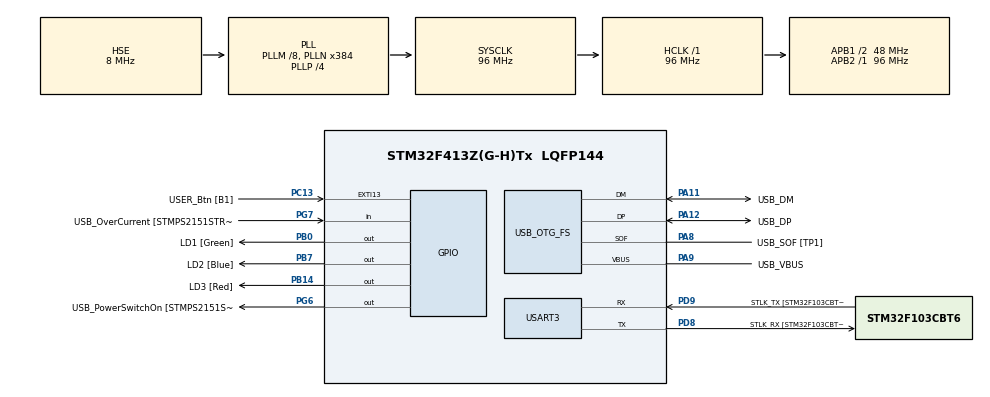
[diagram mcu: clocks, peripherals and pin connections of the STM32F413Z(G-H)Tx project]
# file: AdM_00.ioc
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Mcu.Family=STM32F4
Mcu.Name=STM32F413Z(G-H)Tx
Mcu.Package=LQFP144
NVIC.PriorityGroup=NVIC_PRIORITYGROUP_4
PA10.GPIO_Label=USB_ID
PA10.Signal=USB_OTG_FS_ID
PA11.GPIO_Label=USB_DM
PA11.Mode=Device_Only
PA11.Signal=USB_OTG_FS_DM
PA12.GPIO_Label=USB_DP
PA12.Mode=Device_Only
PA12.Signal=USB_OTG_FS_DP
PA13.GPIO_Label=TMS
PA13.Mode=Serial_Wire
PA13.Signal=SYS_JTMS-SWDIO
PA14.GPIO_Label=TCK
PA14.Mode=Serial_Wire
PA14.Signal=SYS_JTCK-SWCLK
PA8.GPIO_Label=USB_SOF [TP1]
PA8.Mode=Activate_SOF_FS
PA8.Signal=USB_OTG_FS_SOF
PA9.GPIO_Label=USB_VBUS
PA9.Mode=Activate_VBUS
PA9.Signal=USB_OTG_FS_VBUS
PB0.GPIO_Label=LD1 [Green]
PB0.Signal=GPIO_Output
PB14.GPIO_Label=LD3 [Red]
PB14.Signal=GPIO_Output
PB3.GPIO_Label=SWO
PB3.Signal=SYS_JTDO-SWO
PB7.GPIO_Label=LD2 [Blue]
PB7.Signal=GPIO_Output
PC13.GPIO_Label=USER_Btn [B1]
PC13.Signal=GPXTI13
PC14-OSC32_IN.Mode=LSE-External-Oscillator
PC14-OSC32_IN.Signal=RCC_OSC32_IN
PC15-OSC32_OUT.Mode=LSE-External-Oscillator
PC15-OSC32_OUT.Signal=RCC_OSC32_OUT
PD8.GPIO_Label=STLK_RX [STM32F103CBT6_PA3]
PD8.Mode=Asynchronous
PD8.Signal=USART3_TX
PD9.GPIO_Label=STLK_TX [STM32F103CBT6_PA2]
PD9.Mode=Asynchronous
PD9.Signal=USART3_RX
PG6.GPIO_Label=USB_PowerSwitchOn [STMPS2151STR_EN]
PG6.Signal=GPIO_Output
PG7.GPIO_Label=USB_OverCurrent [STMPS2151STR_FAULT]
PG7.Signal=GPIO_Input
PH0\ -\ OSC_IN.GPIO_Label=MCO
PH0\ -\ OSC_IN.Mode=HSE-External-Clock-Source
PH0\ -\ OSC_IN.Signal=RCC_OSC_IN
PH1\ -\ OSC_OUT.Mode=HSE-External-Clock-Source
PH1\ -\ OSC_OUT.Signal=RCC_OSC_OUT
ProjectManager.HeapSize=0x200
ProjectManager.StackSize=0x400
ProjectManager.TargetToolchain=STM32CubeIDE
RCC.48MHZClocksFreq_Value=24000000
RCC.AHBFreq_Value=96000000
RCC.APB1CLKDivider=RCC_HCLK_DIV2
RCC.APB1Freq_Value=48000000
RCC.APB1TimFreq_Value=96000000
RCC.APB2Freq_Value=96000000
RCC.APB2TimFreq_Value=96000000
RCC.CortexFreq_Value=96000000
RCC.HCLKFreq_Value=96000000
RCC.HSE_VALUE=8000000
RCC.HSI_VALUE=16000000
RCC.PLLM=8
RCC.PLLMUL=RCC_PLL_MUL9
RCC.PLLN=384
RCC.PLLP=RCC_PLLP_DIV4
RCC.PLLQ=8
RCC.PRESCALERUSB=RCC_USBCLKSOURCE_PLL_DIV1_5
RCC.SYSCLKFreq_VALUE=96000000
RCC.SYSCLKSource=RCC_SYSCLKSOURCE_PLLCLK
RCC.SYSCLKSourceVirtual=RCC_SYSCLKSOURCE_PLLCLK
RCC.USBFreq_Value=48000000
RCC.VCOOutputFreq_Value=384000000
USART3.VirtualMode=VM_ASYNC
USB_OTG_FS.VirtualMode=Device_Only
board=NUCLEO-F413ZH

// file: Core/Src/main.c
/* USER CODE BEGIN Header */
/**
  ******************************************************************************
  * @file           : main.c
  * @brief          : Main program body
  ******************************************************************************
  * @attention
  *
  * Copyright (c) 2023 STMicroelectronics.
  * All rights reserved.
  *
  * This software is licensed under terms that can be found in the LICENSE file
  * in the root directory of this software component.
  * If no LICENSE file comes with this software, it is provided AS-IS.
  *
  ******************************************************************************
  */
/* USER CODE END Header */
#include "main.h"

/* USER CODE BEGIN Includes */
//###############################################################################
#include "asm_func.h"
//#include "App.h"

//###############################################################################

/* USER CODE END Includes */

UART_HandleTypeDef huart3;

PCD_HandleTypeDef hpcd_USB_OTG_FS;

/* USER CODE BEGIN PV */
//###############################################################################

//uint32_t var;

//###############################################################################

/* USER CODE END PV */

void SystemClock_Config(void);
static void MX_GPIO_Init(void);
static void MX_USART3_UART_Init(void);
static void MX_USB_OTG_FS_PCD_Init(void);

/* USER CODE BEGIN PFP */
//###############################################################################

static void PrivilegiosSVC(void);

// (1) función que inicializa un vector con ceros
void zeros (uint32_t * vector, uint32_t longitud);

// (2) función que realiza el producto de un vector y un escalar (cambiar el nivel de amplitud de una señal)
void productoEscalar32 (uint32_t * vectorIn, uint32_t * vectorOut, uint32_t longitud, uint32_t escalar);

// (3) Adapte la función del ejercicio 2 para realizar operaciones sobre vectores de 16 bits
void productoEscalar16 (uint16_t * vectorIn, uint16_t * vectorOut, uint32_t longitud, uint16_t escalar);

// (4) Adapte la función del ejercicio 3 para saturar el resultado del producto a 12 bits
void productoEscalar12 (uint16_t * vectorIn, uint16_t * vectorOut, uint32_t longitud, uint16_t escalar);

// (5) función que implemente un filtro de ventana móvil de 10 valores sobre un vector de muestras.
void filtroVentana10(uint16_t * vectorIn, uint16_t * vectorOut, uint32_t longitudVectorIn);

// (6) función que reciba un vector de números signados de 32 bits y los “empaquete” en
//     otro vector de 16 bits. La función deberá adecuar los valores de entrada a la nueva precisión.
void pack32to16 (int32_t * vectorIn, int16_t *vectorOut, uint32_t longitud);

// (7) función que reciba un vector de números signados de 32 bits y devuelva la posición del máximo del vector.
int32_t max (int32_t * vectorIn, uint32_t longitud);

// (8) función que reciba un vector de muestras signadas de 32 bits y lo decime descartando una cada N muestras.
void downsampleM (int32_t * vectorIn, int32_t * vectorOut, uint32_t longitud, uint32_t N);

// (9) función que reciba un vector de muestras no signadas de 16 bits e invierta su orden.
void invertir (uint16_t * vector, uint32_t longitud);

/* (10) función que recibe un vector de 4096 valores de 16 bits (signados), que corresponden a muestras
		de audio tomadas a una tasa de muestreo de 44.100 muestras/s. La función
		debe introducir un “eco” de la mitad de la amplitud de la muestra original
		a los 20ms de comenzada la grabación.
		Nota: El eco consiste en adicionar a la señal original, la propia señal original dividida por dos y
		atrasada en 20ms, como muestra la ilustración debajo.
		Por qué la cantidad de muestras copiadas iguales es de 882?
		Variante: Una vez implementada la función, programar una nueva versión que utilice las
		instrucciones SIMD para optimizar la ejecución del algoritmo.
*/
void eco (int16_t * vectorIn);

// (11) función que calcule la correlación entre dos vectores. Luego optimice utilizando instrucciones SIMD.
void corr (int16_t * vectorX, int16_t * vectorY, int16_t * vectorCorr, uint32_t longitud);

//###############################################################################

/* USER CODE END PFP */

int main(void)
{

  /* MCU Configuration--------------------------------------------------------*/

  /* Reset of all peripherals, Initializes the Flash interface and the Systick. */
  HAL_Init();

  /* Configure the system clock */
  SystemClock_Config();

  /* Initialize all configured peripherals */
  MX_GPIO_Init();
  MX_USART3_UART_Init();
  MX_USB_OTG_FS_PCD_Init();

  /* USER CODE BEGIN 2 */
  //###############################################################################

  PrivilegiosSVC();

  uint16_t vIn[5]={30000,30,1,44000,2};
  uint16_t vOut[5]={};
  uint16_t escalar=2;
  //uint32_t B=8;

  //asm_producto_escalar16 (vIn, vOut, 5, escalar);

  //******************************************************************************
  //	ECO ejercicio 10
  //******************************************************************************
  int16_t vectorIn[] = {1,4,3,8,15,-4};
  int16_t vectorEco[] = {0,0,0,0,0,0};
  uint32_t longitud = 6;
  uint32_t eco = 3;

  asm_eco(vectorIn, vectorEco, longitud, eco);

  //###############################################################################

  /* USER CODE END 2 */

  /* Infinite loop */
  while (1)
  {

  }
}

void SystemClock_Config(void)
{
  RCC_OscInitTypeDef RCC_OscInitStruct = {0};
  RCC_ClkInitTypeDef RCC_ClkInitStruct = {0};

  /** Configure the main internal regulator output voltage
  */
  __HAL_RCC_PWR_CLK_ENABLE();
  __HAL_PWR_VOLTAGESCALING_CONFIG(PWR_REGULATOR_VOLTAGE_SCALE1);

  /** Initializes the RCC Oscillators according to the specified parameters
  * in the RCC_OscInitTypeDef structure.
  */
  RCC_OscInitStruct.OscillatorType = RCC_OSCILLATORTYPE_HSE;
  RCC_OscInitStruct.HSEState = RCC_HSE_BYPASS;
  RCC_OscInitStruct.PLL.PLLState = RCC_PLL_ON;
  RCC_OscInitStruct.PLL.PLLSource = RCC_PLLSOURCE_HSE;
  RCC_OscInitStruct.PLL.PLLM = 8;
  RCC_OscInitStruct.PLL.PLLN = 384;
  RCC_OscInitStruct.PLL.PLLP = RCC_PLLP_DIV4;
  RCC_OscInitStruct.PLL.PLLQ = 8;
  RCC_OscInitStruct.PLL.PLLR = 2;
  if (HAL_RCC_OscConfig(&RCC_OscInitStruct) != HAL_OK)
  {
    Error_Handler();
  }

  /** Initializes the CPU, AHB and APB buses clocks
  */
  RCC_ClkInitStruct.ClockType = RCC_CLOCKTYPE_HCLK|RCC_CLOCKTYPE_SYSCLK
                              |RCC_CLOCKTYPE_PCLK1|RCC_CLOCKTYPE_PCLK2;
  RCC_ClkInitStruct.SYSCLKSource = RCC_SYSCLKSOURCE_PLLCLK;
  RCC_ClkInitStruct.AHBCLKDivider = RCC_SYSCLK_DIV1;
  RCC_ClkInitStruct.APB1CLKDivider = RCC_HCLK_DIV2;
  RCC_ClkInitStruct.APB2CLKDivider = RCC_HCLK_DIV1;

  if (HAL_RCC_ClockConfig(&RCC_ClkInitStruct, FLASH_LATENCY_3) != HAL_OK)
  {
    Error_Handler();
  }
}

static void MX_USART3_UART_Init(void)
{

  huart3.Instance = USART3;
  huart3.Init.BaudRate = 115200;
  huart3.Init.WordLength = UART_WORDLENGTH_8B;
  huart3.Init.StopBits = UART_STOPBITS_1;
  huart3.Init.Parity = UART_PARITY_NONE;
  huart3.Init.Mode = UART_MODE_TX_RX;
  huart3.Init.HwFlowCtl = UART_HWCONTROL_NONE;
  huart3.Init.OverSampling = UART_OVERSAMPLING_16;
  if (HAL_UART_Init(&huart3) != HAL_OK)
  {
    Error_Handler();
  }

}

static void MX_USB_OTG_FS_PCD_Init(void)
{

  hpcd_USB_OTG_FS.Instance = USB_OTG_FS;
  hpcd_USB_OTG_FS.Init.dev_endpoints = 6;
  hpcd_USB_OTG_FS.Init.speed = PCD_SPEED_FULL;
  hpcd_USB_OTG_FS.Init.dma_enable = DISABLE;
  hpcd_USB_OTG_FS.Init.phy_itface = PCD_PHY_EMBEDDED;
  hpcd_USB_OTG_FS.Init.Sof_enable = ENABLE;
  hpcd_USB_OTG_FS.Init.low_power_enable = DISABLE;
  hpcd_USB_OTG_FS.Init.lpm_enable = DISABLE;
  hpcd_USB_OTG_FS.Init.battery_charging_enable = ENABLE;
  hpcd_USB_OTG_FS.Init.vbus_sensing_enable = ENABLE;
  hpcd_USB_OTG_FS.Init.use_dedicated_ep1 = DISABLE;
  if (HAL_PCD_Init(&hpcd_USB_OTG_FS) != HAL_OK)
  {
    Error_Handler();
  }

}

static void MX_GPIO_Init(void)
{
  GPIO_InitTypeDef GPIO_InitStruct = {0};

  /* GPIO Ports Clock Enable */
  __HAL_RCC_GPIOC_CLK_ENABLE();
  __HAL_RCC_GPIOH_CLK_ENABLE();
  __HAL_RCC_GPIOB_CLK_ENABLE();
  __HAL_RCC_GPIOD_CLK_ENABLE();
  __HAL_RCC_GPIOG_CLK_ENABLE();
  __HAL_RCC_GPIOA_CLK_ENABLE();

  /*Configure GPIO pin Output Level */
  HAL_GPIO_WritePin(GPIOB, LD1_Pin|LD3_Pin|LD2_Pin, GPIO_PIN_RESET);

  /*Configure GPIO pin Output Level */
  HAL_GPIO_WritePin(USB_PowerSwitchOn_GPIO_Port, USB_PowerSwitchOn_Pin, GPIO_PIN_RESET);

  /*Configure GPIO pin : USER_Btn_Pin */
  GPIO_InitStruct.Pin = USER_Btn_Pin;
  GPIO_InitStruct.Mode = GPIO_MODE_IT_RISING;
  GPIO_InitStruct.Pull = GPIO_NOPULL;
  HAL_GPIO_Init(USER_Btn_GPIO_Port, &GPIO_InitStruct);

  /*Configure GPIO pins : LD1_Pin LD3_Pin LD2_Pin */
  GPIO_InitStruct.Pin = LD1_Pin|LD3_Pin|LD2_Pin;
  GPIO_InitStruct.Mode = GPIO_MODE_OUTPUT_PP;
  GPIO_InitStruct.Pull = GPIO_NOPULL;
  GPIO_InitStruct.Speed = GPIO_SPEED_FREQ_LOW;
  HAL_GPIO_Init(GPIOB, &GPIO_InitStruct);

  /*Configure GPIO pin : USB_PowerSwitchOn_Pin */
  GPIO_InitStruct.Pin = USB_PowerSwitchOn_Pin;
  GPIO_InitStruct.Mode = GPIO_MODE_OUTPUT_PP;
  GPIO_InitStruct.Pull = GPIO_NOPULL;
  GPIO_InitStruct.Speed = GPIO_SPEED_FREQ_LOW;
  HAL_GPIO_Init(USB_PowerSwitchOn_GPIO_Port, &GPIO_InitStruct);

  /*Configure GPIO pin : USB_OverCurrent_Pin */
  GPIO_InitStruct.Pin = USB_OverCurrent_Pin;
  GPIO_InitStruct.Mode = GPIO_MODE_INPUT;
  GPIO_InitStruct.Pull = GPIO_NOPULL;
  HAL_GPIO_Init(USB_OverCurrent_GPIO_Port, &GPIO_InitStruct);

}

/* USER CODE BEGIN 4 */
//###############################################################################

void PrivilegiosSVC()
{
	//Leemos el regitro CONTROL deberia dar 0
	uint32_t control = __get_CONTROL();

	control |= 0b01;
	__set_CONTROL(control);

	control = __get_CONTROL();

	control &= ~0b01;
	__set_CONTROL(control);

	asm_svc();

	control = __get_CONTROL();

}

// se agrega codigo en funcion void SVC_Handler(void) del archivo stm32f4xx_it.c
//	__set_CONTROL(0b00);

// (1) función que inicializa un vector con ceros
void zeros (uint32_t * vector, uint32_t longitud)
{
	for (uint32_t i = 0; i < longitud; i++)
		{
	    	vector[i] = 0;
		}

}

// (2) función que realiza el producto de un vector y un escalar (cambiar el nivel de amplitud de una señal)
void productoEscalar32 (uint32_t * vectorIn, uint32_t * vectorOut, uint32_t longitud, uint32_t escalar)
{
	for (uint32_t i = 0; i < longitud; i++)
		{
	    	vectorOut[i] = vectorIn[i] * escalar;
		}

}

// (3) Adapte la función del ejercicio 2 para realizar operaciones sobre vectores de 16 bits
void productoEscalar16 (uint16_t * vectorIn, uint16_t * vectorOut, uint32_t longitud, uint16_t escalar)
{
	for (uint32_t i = 0; i < longitud; i++)
			{
				uint32_t resultado = vectorIn[i] * escalar;
				if (resultado > 0x0000FFFF)
					vectorOut[i] = 0x0000FFFF;
				else
					vectorOut[i] = resultado ;
			}

}

//###############################################################################

/* USER CODE END 4 */

void Error_Handler(void)
{
  __disable_irq();
  while (1)
  {
  }
}
